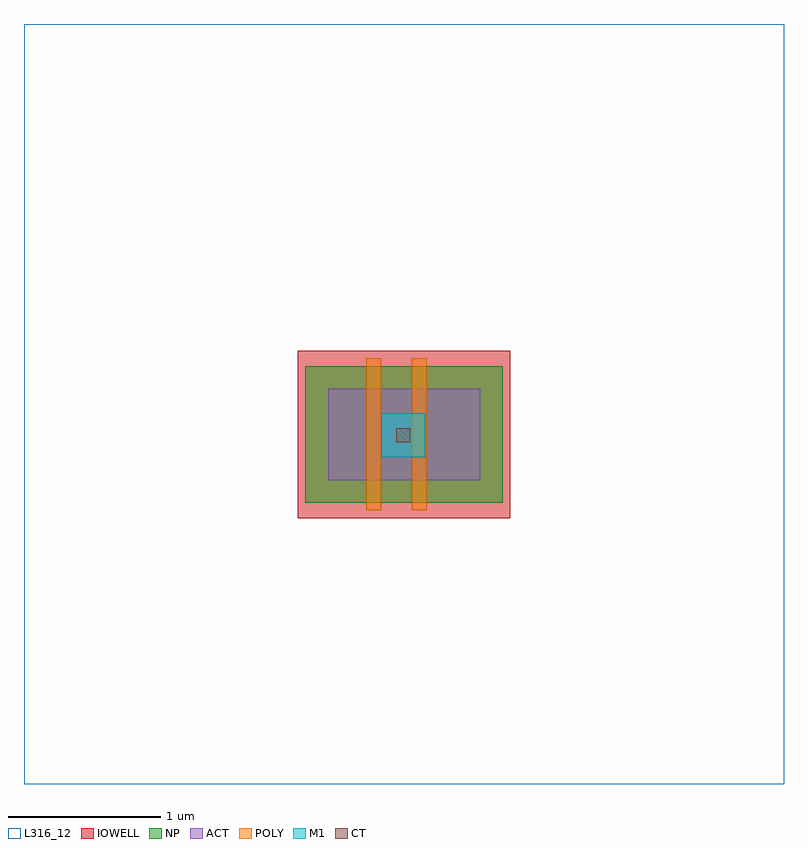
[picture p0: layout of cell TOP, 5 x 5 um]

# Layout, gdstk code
import gdstk
lib = gdstk.Library(unit=1e-6, precision=1e-09)
def R(c, l, rs):  # rectangles x0, y0, x1, y1
    for r in rs: c.add(gdstk.rectangle(r[:2], r[2:], *l))
ACT = (2, 1)
IOWELL = (28, 1)
POLY = (41, 1)
NP = (52, 1)
CT = (72, 1)
M1 = (81, 1)
L316_12 = (316, 12)

top = lib.new_cell('TOP')
R(top, ACT, [(0,0,1,0.6)])
R(top, IOWELL, [(-0.2,-0.25,1.2,0.85)])
R(top, POLY, [(0.25,-0.2,0.35,0.8), (0.55,-0.2,0.65,0.8)])
R(top, NP, [(-0.15,-0.15,1.15,0.75)])
R(top, CT, [(0.45,0.25,0.54,0.34)])
R(top, M1, [(0.35,0.15,0.64,0.44)])
R(top, L316_12, [(-2,-2,3,3)])

lib.write_gds('TOP.gds')
